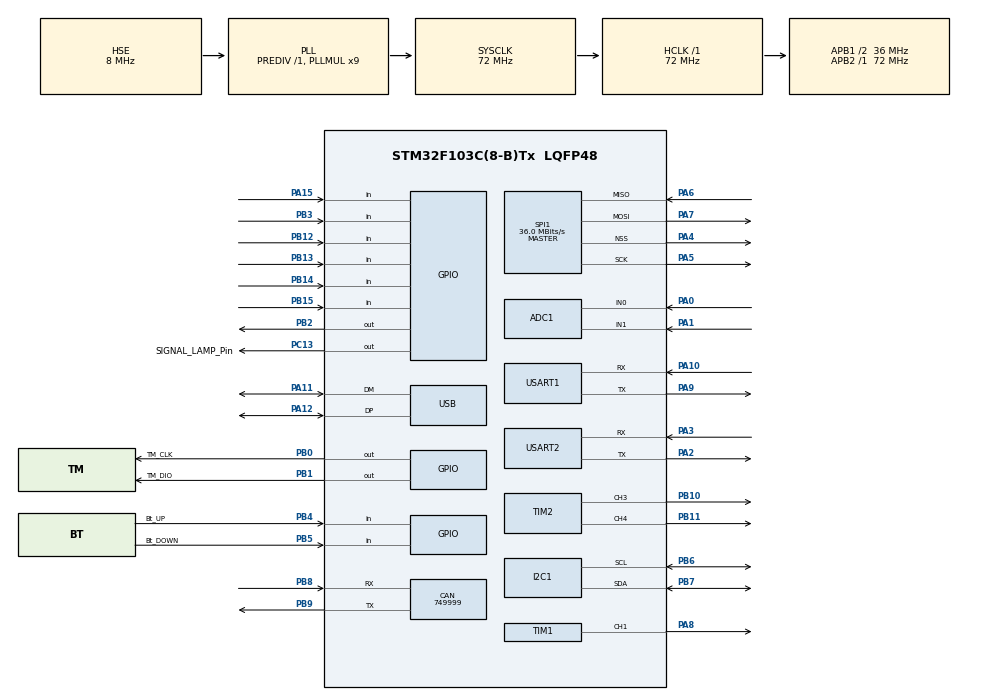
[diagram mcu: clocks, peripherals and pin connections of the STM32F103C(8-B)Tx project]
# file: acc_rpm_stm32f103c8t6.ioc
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ADC1.Channel-0\#ChannelRegularConversion=ADC_CHANNEL_0
ADC1.NbrOfConversionFlag=1
ADC1.Rank-0\#ChannelRegularConversion=1
ADC1.SamplingTime-0\#ChannelRegularConversion=ADC_SAMPLETIME_1CYCLE_5
ADC1.master=1
CAN.CalculateBaudRate=749999
CAN.CalculateTimeBit=1333
CAN.CalculateTimeQuantum=444.44444444444446
FATFS._MAX_SS=4096
FATFS._USE_LFN=1
Mcu.Family=STM32F1
Mcu.Name=STM32F103C(8-B)Tx
Mcu.Package=LQFP48
NVIC.PriorityGroup=NVIC_PRIORITYGROUP_4
NVIC.USB_LP_CAN1_RX0_IRQn=true\:0\:0\:false\:false\:true\:false\:true\:true
PA0-WKUP.Signal=ADCx_IN0
PA1.Signal=ADCx_IN1
PA10.Mode=Asynchronous
PA10.Signal=USART1_RX
PA11.Mode=Device
PA11.Signal=USB_DM
PA12.Mode=Device
PA12.Signal=USB_DP
PA13.Mode=Serial_Wire
PA13.Signal=SYS_JTMS-SWDIO
PA14.Mode=Serial_Wire
PA14.Signal=SYS_JTCK-SWCLK
PA15.GPIO_PuPd=GPIO_PULLUP
PA15.Signal=GPIO_Input
PA2.Mode=Asynchronous
PA2.Signal=USART2_TX
PA3.Mode=Asynchronous
PA3.Signal=USART2_RX
PA4.Mode=NSS_Signal_Hard_Output
PA4.Signal=SPI1_NSS
PA5.Mode=Full_Duplex_Master
PA5.Signal=SPI1_SCK
PA6.Mode=Full_Duplex_Master
PA6.Signal=SPI1_MISO
PA7.Mode=Full_Duplex_Master
PA7.Signal=SPI1_MOSI
PA8.Signal=S_TIM1_CH1
PA9.Mode=Asynchronous
PA9.Signal=USART1_TX
PB0.GPIO_Label=TM_CLK
PB0.Signal=GPIO_Output
PB1.GPIO_Label=TM_DIO
PB1.Signal=GPIO_Output
PB10.Signal=S_TIM2_CH3
PB11.Signal=S_TIM2_CH4
PB12.GPIO_PuPd=GPIO_PULLUP
PB12.Signal=GPIO_Input
PB13.GPIO_PuPd=GPIO_PULLUP
PB13.Signal=GPIO_Input
PB14.GPIO_PuPd=GPIO_PULLUP
PB14.Signal=GPIO_Input
PB15.Signal=GPIO_Input
PB2.Signal=GPIO_Output
PB3.GPIO_PuPd=GPIO_PULLUP
PB3.Signal=GPIO_Input
PB4.GPIO_Label=Bt_UP
PB4.GPIO_PuPd=GPIO_PULLUP
PB4.Signal=GPIO_Input
PB5.GPIO_Label=Bt_DOWN
PB5.GPIO_PuPd=GPIO_PULLUP
PB5.Signal=GPIO_Input
PB6.Mode=I2C
PB6.Signal=I2C1_SCL
PB7.Mode=I2C
PB7.Signal=I2C1_SDA
PB8.Mode=CAN_Activate
PB8.Signal=CAN_RX
PB9.Mode=CAN_Activate
PB9.Signal=CAN_TX
PC13-TAMPER-RTC.GPIO_Label=SIGNAL_LAMP_Pin
PC13-TAMPER-RTC.Signal=GPIO_Output
PC14-OSC32_IN.Mode=LSE-External-Oscillator
PC14-OSC32_IN.Signal=RCC_OSC32_IN
PC15-OSC32_OUT.Mode=LSE-External-Oscillator
PC15-OSC32_OUT.Signal=RCC_OSC32_OUT
PD0-OSC_IN.Mode=HSE-External-Oscillator
PD0-OSC_IN.Signal=RCC_OSC_IN
PD1-OSC_OUT.Mode=HSE-External-Oscillator
PD1-OSC_OUT.Signal=RCC_OSC_OUT
ProjectManager.HeapSize=0x200
ProjectManager.StackSize=0x400
ProjectManager.TargetToolchain=STM32CubeIDE
RCC.ADCPresc=RCC_ADCPCLK2_DIV6
RCC.AHBFreq_Value=72000000
RCC.APB1CLKDivider=RCC_HCLK_DIV2
RCC.APB1Freq_Value=36000000
RCC.APB1TimFreq_Value=72000000
RCC.APB2Freq_Value=72000000
RCC.APB2TimFreq_Value=72000000
RCC.HCLKFreq_Value=72000000
RCC.PLLMUL=RCC_PLL_MUL9
RCC.SYSCLKFreq_VALUE=72000000
RCC.SYSCLKSource=RCC_SYSCLKSOURCE_PLLCLK
RCC.USBFreq_Value=48000000
RCC.USBPrescaler=RCC_USBCLKSOURCE_PLL_DIV1_5
SH.ADCx_IN0.0=ADC1_IN0,IN0
SH.ADCx_IN1.0=ADC1_IN1,IN1
SH.S_TIM1_CH1.0=TIM1_CH1,PWM Generation1 CH1
SH.S_TIM2_CH3.0=TIM2_CH3,PWM Generation3 CH3
SH.S_TIM2_CH4.0=TIM2_CH4,PWM Generation4 CH4
SPI1.BaudRatePrescaler=SPI_BAUDRATEPRESCALER_2
SPI1.CalculateBaudRate=36.0 MBits/s
SPI1.Direction=SPI_DIRECTION_2LINES
SPI1.Mode=SPI_MODE_MASTER
SPI1.VirtualNSS=VM_NSSHARD
SPI1.VirtualType=VM_MASTER
TIM1.Channel-PWM\ Generation1\ CH1=TIM_CHANNEL_1
TIM2.Channel-PWM\ Generation3\ CH3=TIM_CHANNEL_3
TIM2.Channel-PWM\ Generation4\ CH4=TIM_CHANNEL_4
USART1.VirtualMode=VM_ASYNC
USART2.VirtualMode=VM_ASYNC
USB_DEVICE.CLASS_NAME_FS=CDC
USB_DEVICE.VirtualMode=Cdc
USB_DEVICE.VirtualModeFS=Cdc_FS
VP_FATFS_VS_Generic.Mode=User_defined
VP_RTC_No_RTC_Output.Mode=RTC_OUT_NO
VP_RTC_VS_RTC_Activate.Mode=RTC_Enabled
VP_RTC_VS_RTC_Calendar.Mode=RTC_Calendar
VP_TIM1_VS_ClockSourceINT.Mode=Internal
VP_TIM2_VS_ClockSourceINT.Mode=Internal
VP_USB_DEVICE_VS_USB_DEVICE_CDC_FS.Mode=CDC_FS
board=custom

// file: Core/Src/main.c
/* USER CODE BEGIN Header */
/**
 ******************************************************************************
 * @file           : main.c
 * @brief          : Main program body
 ******************************************************************************
 * @attention
 *
 * Copyright (c) 2024 STMicroelectronics.
 * All rights reserved.
 *
 * This software is licensed under terms that can be found in the LICENSE file
 * in the root directory of this software component.
 * If no LICENSE file comes with this software, it is provided AS-IS.
 *
 ******************************************************************************
 */
/* USER CODE END Header */
#include "main.h"
#include "fatfs.h"

/* USER CODE BEGIN Includes */
#include "stdbool.h"
#include "math.h"
#include <stdio.h>
#include "ds1307_for_stm32_hal.h"
#include "tm1637.h"
/* USER CODE END Includes */

/* USER CODE BEGIN PD */
#define BT_KEY_UP 1
#define BT_KEY_DOWN 2
#define BT_KEY_UP_AND_DOWN 3
#define BT_KEY_UP_DRAG 4
#define BT_KEY_DOWN_DRAG 5
#define BT_KEY_UP_AND_DOWN_DRAG 6

#define EEPROM_ADDR 0xA0
#define PAGE_SIZE 64     // in Bytes จำนวน ต่อ 1 หน้า
#define PAGE_NUM  512    // number of pages จำนวนหน้า
#define EEPROM_I2C &hi2c1

#define CONFIG_ADDR 0x700

#define MPU6050_ADDR 0xD0

#define RAD_TO_DEG 57.295779513082320876798154814105

#define WHO_AM_I_REG 0x75
#define PWR_MGMT_1_REG 0x6B
#define SMPLRT_DIV_REG 0x19
#define ACCEL_CONFIG_REG 0x1C
#define ACCEL_XOUT_H_REG 0x3B
#define TEMP_OUT_H_REG 0x41
#define acc_CONFIG_REG 0x1B
#define acc_XOUT_H_REG 0x43

/* USER CODE END PD */

ADC_HandleTypeDef hadc1;

CAN_HandleTypeDef hcan;

I2C_HandleTypeDef hi2c1;

RTC_HandleTypeDef hrtc;

SPI_HandleTypeDef hspi1;

TIM_HandleTypeDef htim1;
TIM_HandleTypeDef htim2;

UART_HandleTypeDef huart1;
UART_HandleTypeDef huart2;

/* USER CODE BEGIN PV */
struct config {

	uint8_t Limit_value[16];
	uint8_t Period;
};

struct config Config;
uint8_t sinnal_PWN;
uint8_t MSG[50] = { '\0' };
uint8_t X = 0;
uint8_t gyloXYZ[14];
const uint16_t i2c_timeout = 100;
uint8_t Data;
/* USER CODE END PV */

void SystemClock_Config(void);
static void MX_GPIO_Init(void);
static void MX_ADC1_Init(void);
static void MX_CAN_Init(void);
static void MX_I2C1_Init(void);
static void MX_SPI1_Init(void);
static void MX_TIM1_Init(void);
static void MX_TIM2_Init(void);
static void MX_USART1_UART_Init(void);
static void MX_RTC_Init(void);
static void MX_USART2_UART_Init(void);

/* USER CODE BEGIN 0 */
float genDegreefromAcc(float ac_value) {
	return ac_value * 90;
}
uint8_t Getstategylo(float x, float y, float z, float torrent) {
	uint8_t bufferx, buffery, bufferz, buffer_finish;
	return buffer_finish;
} // ใช้ตัวเลข 6 bit จากขวาสุด หลัก 1-3-5 แสดงสถานะว่าสมดุลหรือไม่  1 คือ x , 3 คือ y , 5 คือ z,0=สมดุุล,1=ไม่สมดุล พิจารณาจากว่าเกินค่า offset
//หลัก 2-4-6 แสดงทิศทาง 0 คือบวก 1 คือลบ
void EEPROM_Read(uint16_t page, uint16_t offset, uint8_t *data, uint16_t size) {
	int paddrposition = log(PAGE_SIZE) / log(2);

	uint16_t startPage = page;
	uint16_t endPage = page + ((size + offset) / PAGE_SIZE);

	uint16_t numofpages = (endPage - startPage) + 1;
	uint16_t pos = 0;

	for (int i = 0; i < numofpages; i++) {
		uint16_t MemAddress = startPage << paddrposition | offset;
		uint16_t bytesremaining = bytestowrite(size, offset);
		HAL_I2C_Mem_Read(EEPROM_I2C, EEPROM_ADDR, MemAddress, 2, &data[pos],
				bytesremaining, 1000);
		startPage += 1;
		offset = 0;
		size = size - bytesremaining;
		pos += bytesremaining;
	}
}
void EEPROM_Write(uint16_t page, uint16_t offset, uint8_t *data, uint16_t size) {

	// Find out the number of bit, where the page addressing starts
	int paddrposition = log(PAGE_SIZE) / log(2);

	// calculate the start page and the end page
	uint16_t startPage = page;
	uint16_t endPage = page + ((size + offset) / PAGE_SIZE);

	// number of pages to be written
	uint16_t numofpages = (endPage - startPage) + 1;
	uint16_t pos = 0;

	// write the data
	for (int i = 0; i < numofpages; i++) {
		/* calculate the address of the memory location
		 * Here we add the page address with the byte address
		 */
		uint16_t MemAddress = startPage << paddrposition | offset;
		uint16_t bytesremaining = bytestowrite(size, offset); // calculate the remaining bytes to be written

		HAL_I2C_Mem_Write(EEPROM_I2C, EEPROM_ADDR, MemAddress, 2, &data[pos],
				bytesremaining, 1000);  // write the data to the EEPROM

		startPage += 1; // increment the page, so that a new page address can be selected for further write
		offset = 0; // since we will be writing to a new page, so offset will be 0
		size = size - bytesremaining;  // reduce the size of the bytes
		pos += bytesremaining;  // update the position for the data buffer

		HAL_Delay(5);  // Write cycle delay (5ms)
	}
}
uint8_t MPU6050_Init(I2C_HandleTypeDef *I2Cx) {
	uint8_t check;

	// check device ID WHO_AM_I

	HAL_I2C_Mem_Read(I2Cx, MPU6050_ADDR, WHO_AM_I_REG, 1, &check, 1,
			i2c_timeout);

	if (check == 104) // 0x68 will be returned by the sensor if everything goes well
			{
		// power management register 0X6B we should write all 0's to wake the sensor up
		Data = 0x0;
		HAL_I2C_Mem_Write(I2Cx, MPU6050_ADDR, PWR_MGMT_1_REG, 1, &Data, 1,
				i2c_timeout);

		// Set DATA RATE of 1KHz by writing SMPLRT_DIV register
		Data = 0x00;
		HAL_I2C_Mem_Write(I2Cx, MPU6050_ADDR, SMPLRT_DIV_REG, 1, &Data, 1,
				i2c_timeout);

		Data = 0x00;
		HAL_I2C_Mem_Write(I2Cx, MPU6050_ADDR, 0x1A, 1, &Data, 1, i2c_timeout);
		// Set accelerometer configuration in ACCEL_CONFIG Register
		// XA_ST=0,YA_ST=0,ZA_ST=0, FS_SEL=0 -> � 2g

		Data = 0x0;
		HAL_I2C_Mem_Write(I2Cx, MPU6050_ADDR, ACCEL_CONFIG_REG, 1, &Data, 1,
				i2c_timeout);

		// Set accscopic configuration in acc_CONFIG Register
		// XG_ST=0,YG_ST=0,ZG_ST=0, FS_SEL=0 -> � 250 �/s
		Data = 0x0;
		HAL_I2C_Mem_Write(I2Cx, MPU6050_ADDR, acc_CONFIG_REG, 1, &Data, 1,
				i2c_timeout);

		Data = 0x07;
		HAL_I2C_Mem_Write(I2Cx, MPU6050_ADDR, 0x68, 1, &Data, 1, i2c_timeout);

		Data = 0xff;
		HAL_I2C_Mem_Write(I2Cx, MPU6050_ADDR, 0x23, 1, &Data, 1, i2c_timeout);

		sprintf(MSG, "OKx1x \r\n");
		HAL_UART_Transmit(&huart1, MSG, sizeof(MSG), 100);
		return 0;
	}
	return 1;
}
void read_gylo() {

	HAL_I2C_Mem_Read(&hi2c1, MPU6050_ADDR, 0x3B, I2C_MEMADD_SIZE_8BIT, gyloXYZ,
			14, 1);
}

void read_Config() {
	HAL_I2C_Mem_Read(&hi2c1, EEPROM_ADDR, CONFIG_ADDR, 2, &Config,
			sizeof(Config), 1000);
	uint8_t *x;
	x = &Config;
	for (int i = 0; i < sizeof(Config); i++) {
		sprintf(MSG, "Read %d = %d \r\n", i, *(x + i));
		HAL_UART_Transmit(&huart1, MSG, sizeof(MSG), 100);
	}
}
void write_Config() {
	for (uint8_t i = 0; i < 16; i++) {
		if (Config.Limit_value[i] < 10) {
			Config.Limit_value[i] = 128;
		}
		sprintf(MSG, "L %d = %d \r\n", i, Config.Limit_value[i]);
		HAL_UART_Transmit(&huart1, MSG, sizeof(MSG), 100);
	}
	if (Config.Period < 2) {
		Config.Period = 8;
	}
//	sprintf(MSG, "PL : %d \r\n", Config.Period);
//	HAL_UART_Transmit(&huart1, MSG, sizeof(MSG), 100);
//	sprintf(MSG, "SizeConfig : %d \r\n", sizeof(Config));
//	HAL_UART_Transmit(&huart1, MSG, sizeof(MSG), 100);
//	HAL_I2C_Mem_Write(&hi2c1, EEPROM_ADDR, CONFIG_ADDR, 2, &Config,
//			sizeof(Config), 1000);
}
void Set_limitvalue() {

}
uint8_t read_bt() {
	static uint8_t Bt_key;
	static bool statecout;
	static uint64_t timetrick;
	GPIO_PinState Bt_up, Bt_Down;

	Bt_up = HAL_GPIO_ReadPin(Bt_UP_GPIO_Port, Bt_UP_Pin);
	Bt_Down = HAL_GPIO_ReadPin(Bt_DOWN_GPIO_Port, Bt_DOWN_Pin);
	while (!Bt_up) {

	}

	return 0;
}
/* USER CODE END 0 */

int main(void) {

	/* MCU Configuration--------------------------------------------------------*/

	/* Reset of all peripherals, Initializes the Flash interface and the Systick. */
	HAL_Init();

	/* Configure the system clock */
	SystemClock_Config();

	/* Initialize all configured peripherals */
	MX_GPIO_Init();
	MX_ADC1_Init();
	MX_CAN_Init();
	MX_I2C1_Init();
	MX_SPI1_Init();
	MX_TIM1_Init();
	MX_TIM2_Init();
	MX_USART1_UART_Init();
	MX_RTC_Init();
	MX_USART2_UART_Init();
	MX_FATFS_Init();
	TM1637_Init();
	TM1637_SetBrightness(7);
	TM1637_ClearDisplay();
	while (MPU6050_Init(&hi2c1) == 1)
		;
	/* USER CODE BEGIN 2 */
//	write_Config();
	/* Start DS1307 timing. Pass user I2C handle pointer to function. */
//	DS1307_Init(&hi2c1);
//	/* To test leap year correction. */
//	DS1307_SetTimeZone(+7, 00);
//	DS1307_SetDate(30);
//	DS1307_SetMonth(10);
//	DS1307_SetYear(2024);
//	DS1307_SetHour(19);
//	DS1307_SetMinute(45);
//	DS1307_SetSecond(10);
//	read_Config();
	/* USER CODE END 2 */

	/* Infinite loop */
	/* USER CODE BEGIN WHILE */
	short acc_x_raw;
	short acc_y_raw;
	short acc_z_raw;
	float acc_x;
	float acc_y;
	float acc_z;
	short gylo_x_raw;
	short gylo_y_raw;
	short gylo_z_raw;
	float gylo_x;
	float gylo_y;
	float gylo_z;
	while (1) {
		static uint32_t tk;
		static bool state_tk;
		static bool show_togleamp;
		if (!state_tk) {
			tk = HAL_GetTick();
			state_tk = true;
			show_togleamp = true;
//			uint8_t date = DS1307_GetDate();
//			uint8_t month = DS1307_GetMonth();
//			uint16_t year = DS1307_GetYear();
//			uint8_t hour = DS1307_GetHour();
//			uint8_t minute = DS1307_GetMinute();
//			uint8_t second = DS1307_GetSecond();
//			int8_t zone_hr = DS1307_GetTimeZoneHour();
//			uint8_t zone_min = DS1307_GetTimeZoneMin();
//			sprintf(MSG,
//					"TZ:+%02d:%02d,%04d-%02d-%02d,%02d:%02d:%02d%: tk = %d \r\n",
//					zone_hr, zone_min, year, month, date, hour, minute, second,
//					tk);
//			/* May show warning below. Ignore and proceed. */
			read_gylo();
			acc_x_raw = (gyloXYZ[0] << 8) | gyloXYZ[1];
			acc_y_raw = (gyloXYZ[2] << 8) | gyloXYZ[3];
			acc_z_raw = (gyloXYZ[4] << 8) | gyloXYZ[5];
			acc_x = acc_x_raw / 16384.f;
			acc_y = acc_y_raw / 16384.f;
			acc_z = acc_z_raw / 16384.f;

			gylo_x_raw = (gyloXYZ[8] << 8) | gyloXYZ[9];
			gylo_y_raw = (gyloXYZ[10] << 8) | gyloXYZ[11];
			gylo_z_raw = (gyloXYZ[12] << 8) | gyloXYZ[13];

			gylo_x = gylo_x_raw / 131.f;
			gylo_y = gylo_y_raw / 131.f;
			gylo_z = gylo_z_raw / 131.f;
			float ab = genDegreefromAcc(acc_x);
			double result = fabsf(ab);
			sprintf(MSG, "tk = %d ax = %.2f ,ay = %.2f , az = %.2f , degree = %.2f \r\n", tk,
					acc_x, acc_y, acc_z,ab);
			HAL_UART_Transmit(&huart1, MSG, strlen(MSG), 100);
			TM1637_displayDecimal_only(result);

			HAL_GPIO_TogglePin(GPIOC, GPIO_PIN_13);

		} else {
			uint32_t tt = HAL_GetTick();

			if ((tt - tk) >= 250) {
				if (show_togleamp) {
					HAL_GPIO_TogglePin(GPIOC, GPIO_PIN_13);
					show_togleamp = false;
				}
			}
			if ((tt - tk) >= 500) {
				state_tk = false;
			}
		}

//		HAL_Delay(50);
		/* USER CODE END WHILE */

	}
}

void SystemClock_Config(void) {
	RCC_OscInitTypeDef RCC_OscInitStruct = { 0 };
	RCC_ClkInitTypeDef RCC_ClkInitStruct = { 0 };
	RCC_PeriphCLKInitTypeDef PeriphClkInit = { 0 };

	/** Initializes the RCC Oscillators according to the specified parameters
	 * in the RCC_OscInitTypeDef structure.
	 */
	RCC_OscInitStruct.OscillatorType = RCC_OSCILLATORTYPE_LSI
			| RCC_OSCILLATORTYPE_HSE;
	RCC_OscInitStruct.HSEState = RCC_HSE_ON;
	RCC_OscInitStruct.HSEPredivValue = RCC_HSE_PREDIV_DIV1;
	RCC_OscInitStruct.HSIState = RCC_HSI_ON;
	RCC_OscInitStruct.LSIState = RCC_LSI_ON;
	RCC_OscInitStruct.PLL.PLLState = RCC_PLL_ON;
	RCC_OscInitStruct.PLL.PLLSource = RCC_PLLSOURCE_HSE;
	RCC_OscInitStruct.PLL.PLLMUL = RCC_PLL_MUL9;
	if (HAL_RCC_OscConfig(&RCC_OscInitStruct) != HAL_OK) {
		Error_Handler();
	}

	/** Initializes the CPU, AHB and APB buses clocks
	 */
	RCC_ClkInitStruct.ClockType = RCC_CLOCKTYPE_HCLK | RCC_CLOCKTYPE_SYSCLK
			| RCC_CLOCKTYPE_PCLK1 | RCC_CLOCKTYPE_PCLK2;
	RCC_ClkInitStruct.SYSCLKSource = RCC_SYSCLKSOURCE_PLLCLK;
	RCC_ClkInitStruct.AHBCLKDivider = RCC_SYSCLK_DIV1;
	RCC_ClkInitStruct.APB1CLKDivider = RCC_HCLK_DIV2;
	RCC_ClkInitStruct.APB2CLKDivider = RCC_HCLK_DIV1;

	if (HAL_RCC_ClockConfig(&RCC_ClkInitStruct, FLASH_LATENCY_2) != HAL_OK) {
		Error_Handler();
	}
	PeriphClkInit.PeriphClockSelection = RCC_PERIPHCLK_RTC | RCC_PERIPHCLK_ADC;
	PeriphClkInit.RTCClockSelection = RCC_RTCCLKSOURCE_LSI;
	PeriphClkInit.AdcClockSelection = RCC_ADCPCLK2_DIV6;
	if (HAL_RCCEx_PeriphCLKConfig(&PeriphClkInit) != HAL_OK) {
		Error_Handler();
	}
}

static void MX_ADC1_Init(void) {

	ADC_ChannelConfTypeDef sConfig = { 0 };

	/** Common config
	 */
	hadc1.Instance = ADC1;
	hadc1.Init.ScanConvMode = ADC_SCAN_DISABLE;
	hadc1.Init.ContinuousConvMode = DISABLE;
	hadc1.Init.DiscontinuousConvMode = DISABLE;
	hadc1.Init.ExternalTrigConv = ADC_SOFTWARE_START;
	hadc1.Init.DataAlign = ADC_DATAALIGN_RIGHT;
	hadc1.Init.NbrOfConversion = 1;
	if (HAL_ADC_Init(&hadc1) != HAL_OK) {
		Error_Handler();
	}

	/** Configure Regular Channel
	 */
	sConfig.Channel = ADC_CHANNEL_0;
	sConfig.Rank = ADC_REGULAR_RANK_1;
	sConfig.SamplingTime = ADC_SAMPLETIME_1CYCLE_5;
	if (HAL_ADC_ConfigChannel(&hadc1, &sConfig) != HAL_OK) {
		Error_Handler();
	}

}

static void MX_CAN_Init(void) {

	hcan.Instance = CAN1;
	hcan.Init.Prescaler = 16;
	hcan.Init.Mode = CAN_MODE_NORMAL;
	hcan.Init.SyncJumpWidth = CAN_SJW_1TQ;
	hcan.Init.TimeSeg1 = CAN_BS1_1TQ;
	hcan.Init.TimeSeg2 = CAN_BS2_1TQ;
	hcan.Init.TimeTriggeredMode = DISABLE;
	hcan.Init.AutoBusOff = DISABLE;
	hcan.Init.AutoWakeUp = DISABLE;
	hcan.Init.AutoRetransmission = DISABLE;
	hcan.Init.ReceiveFifoLocked = DISABLE;
	hcan.Init.TransmitFifoPriority = DISABLE;
	if (HAL_CAN_Init(&hcan) != HAL_OK) {
		Error_Handler();
	}

}

static void MX_I2C1_Init(void) {

	hi2c1.Instance = I2C1;
	hi2c1.Init.ClockSpeed = 100000;
	hi2c1.Init.DutyCycle = I2C_DUTYCYCLE_2;
	hi2c1.Init.OwnAddress1 = 0;
	hi2c1.Init.AddressingMode = I2C_ADDRESSINGMODE_7BIT;
	hi2c1.Init.DualAddressMode = I2C_DUALADDRESS_DISABLE;
	hi2c1.Init.OwnAddress2 = 0;
	hi2c1.Init.GeneralCallMode = I2C_GENERALCALL_DISABLE;
	hi2c1.Init.NoStretchMode = I2C_NOSTRETCH_DISABLE;
	if (HAL_I2C_Init(&hi2c1) != HAL_OK) {
		Error_Handler();
	}

}

static void MX_RTC_Init(void) {

	RTC_TimeTypeDef sTime = { 0 };
	RTC_DateTypeDef DateToUpdate = { 0 };

	/** Initialize RTC Only
	 */
	hrtc.Instance = RTC;
	hrtc.Init.AsynchPrediv = RTC_AUTO_1_SECOND;
	hrtc.Init.OutPut = RTC_OUTPUTSOURCE_NONE;
	if (HAL_RTC_Init(&hrtc) != HAL_OK) {
		Error_Handler();
	}

	/** Initialize RTC and set the Time and Date
	 */
	sTime.Hours = 0x0;
	sTime.Minutes = 0x0;
	sTime.Seconds = 0x0;

	if (HAL_RTC_SetTime(&hrtc, &sTime, RTC_FORMAT_BCD) != HAL_OK) {
		Error_Handler();
	}
	DateToUpdate.WeekDay = RTC_WEEKDAY_MONDAY;
	DateToUpdate.Month = RTC_MONTH_JANUARY;
	DateToUpdate.Date = 0x1;
	DateToUpdate.Year = 0x0;

	if (HAL_RTC_SetDate(&hrtc, &DateToUpdate, RTC_FORMAT_BCD) != HAL_OK) {
		Error_Handler();
	}

}

static void MX_SPI1_Init(void) {

	/* SPI1 parameter configuration*/
	hspi1.Instance = SPI1;
	hspi1.Init.Mode = SPI_MODE_MASTER;
	hspi1.Init.Direction = SPI_DIRECTION_2LINES;
	hspi1.Init.DataSize = SPI_DATASIZE_8BIT;
	hspi1.Init.CLKPolarity = SPI_POLARITY_LOW;
	hspi1.Init.CLKPhase = SPI_PHASE_1EDGE;
	hspi1.Init.NSS = SPI_NSS_HARD_OUTPUT;
	hspi1.Init.BaudRatePrescaler = SPI_BAUDRATEPRESCALER_2;
	hspi1.Init.FirstBit = SPI_FIRSTBIT_MSB;
	hspi1.Init.TIMode = SPI_TIMODE_DISABLE;
	hspi1.Init.CRCCalculation = SPI_CRCCALCULATION_DISABLE;
	hspi1.Init.CRCPolynomial = 10;
	if (HAL_SPI_Init(&hspi1) != HAL_OK) {
		Error_Handler();
	}

}

static void MX_TIM1_Init(void) {

	TIM_MasterConfigTypeDef sMasterConfig = { 0 };
	TIM_IC_InitTypeDef sConfigIC = { 0 };

	htim1.Instance = TIM1;
	htim1.Init.Prescaler = 0;
	htim1.Init.CounterMode = TIM_COUNTERMODE_UP;
	htim1.Init.Period = 65535;
	htim1.Init.ClockDivision = TIM_CLOCKDIVISION_DIV1;
	htim1.Init.RepetitionCounter = 0;
	htim1.Init.AutoReloadPreload = TIM_AUTORELOAD_PRELOAD_DISABLE;
	if (HAL_TIM_IC_Init(&htim1) != HAL_OK) {
		Error_Handler();
	}
	sMasterConfig.MasterOutputTrigger = TIM_TRGO_RESET;
	sMasterConfig.MasterSlaveMode = TIM_MASTERSLAVEMODE_DISABLE;
	if (HAL_TIMEx_MasterConfigSynchronization(&htim1, &sMasterConfig)
			!= HAL_OK) {
		Error_Handler();
	}
	sConfigIC.ICPolarity = TIM_INPUTCHANNELPOLARITY_RISING;
	sConfigIC.ICSelection = TIM_ICSELECTION_DIRECTTI;
	sConfigIC.ICPrescaler = TIM_ICPSC_DIV1;
	sConfigIC.ICFilter = 0;
	if (HAL_TIM_IC_ConfigChannel(&htim1, &sConfigIC, TIM_CHANNEL_1) != HAL_OK) {
		Error_Handler();
	}

}

static void MX_TIM2_Init(void) {

	TIM_ClockConfigTypeDef sClockSourceConfig = { 0 };
	TIM_MasterConfigTypeDef sMasterConfig = { 0 };
	TIM_OC_InitTypeDef sConfigOC = { 0 };

	htim2.Instance = TIM2;
	htim2.Init.Prescaler = 0;
	htim2.Init.CounterMode = TIM_COUNTERMODE_UP;
	htim2.Init.Period = 65535;
	htim2.Init.ClockDivision = TIM_CLOCKDIVISION_DIV1;
	htim2.Init.AutoReloadPreload = TIM_AUTORELOAD_PRELOAD_DISABLE;
	if (HAL_TIM_Base_Init(&htim2) != HAL_OK) {
		Error_Handler();
	}
	sClockSourceConfig.ClockSource = TIM_CLOCKSOURCE_INTERNAL;
	if (HAL_TIM_ConfigClockSource(&htim2, &sClockSourceConfig) != HAL_OK) {
		Error_Handler();
	}
	if (HAL_TIM_OC_Init(&htim2) != HAL_OK) {
		Error_Handler();
	}
	if (HAL_TIM_PWM_Init(&htim2) != HAL_OK) {
		Error_Handler();
	}
	sMasterConfig.MasterOutputTrigger = TIM_TRGO_RESET;
	sMasterConfig.MasterSlaveMode = TIM_MASTERSLAVEMODE_DISABLE;
	if (HAL_TIMEx_MasterConfigSynchronization(&htim2, &sMasterConfig)
			!= HAL_OK) {
		Error_Handler();
	}
	sConfigOC.OCMode = TIM_OCMODE_TIMING;
	sConfigOC.Pulse = 0;
	sConfigOC.OCPolarity = TIM_OCPOLARITY_HIGH;
	sConfigOC.OCFastMode = TIM_OCFAST_DISABLE;
	if (HAL_TIM_OC_ConfigChannel(&htim2, &sConfigOC, TIM_CHANNEL_3) != HAL_OK) {
		Error_Handler();
	}
	sConfigOC.OCMode = TIM_OCMODE_PWM1;
	if (HAL_TIM_PWM_ConfigChannel(&htim2, &sConfigOC, TIM_CHANNEL_4)
			!= HAL_OK) {
		Error_Handler();
	}
	HAL_TIM_MspPostInit(&htim2);

}

static void MX_USART1_UART_Init(void) {

	huart1.Instance = USART1;
	huart1.Init.BaudRate = 115200;
	huart1.Init.WordLength = UART_WORDLENGTH_8B;
	huart1.Init.StopBits = UART_STOPBITS_1;
	huart1.Init.Parity = UART_PARITY_NONE;
	huart1.Init.Mode = UART_MODE_TX_RX;
	huart1.Init.HwFlowCtl = UART_HWCONTROL_NONE;
	huart1.Init.OverSampling = UART_OVERSAMPLING_16;
	if (HAL_UART_Init(&huart1) != HAL_OK) {
		Error_Handler();
	}

}

static void MX_USART2_UART_Init(void) {

	huart2.Instance = USART2;
	huart2.Init.BaudRate = 115200;
	huart2.Init.WordLength = UART_WORDLENGTH_8B;
	huart2.Init.StopBits = UART_STOPBITS_1;
	huart2.Init.Parity = UART_PARITY_NONE;
	huart2.Init.Mode = UART_MODE_TX_RX;
	huart2.Init.HwFlowCtl = UART_HWCONTROL_NONE;
	huart2.Init.OverSampling = UART_OVERSAMPLING_16;
	if (HAL_UART_Init(&huart2) != HAL_OK) {
		Error_Handler();
	}

}

static void MX_GPIO_Init(void) {
	GPIO_InitTypeDef GPIO_InitStruct = { 0 };

	/* GPIO Ports Clock Enable */
	__HAL_RCC_GPIOC_CLK_ENABLE();
	__HAL_RCC_GPIOD_CLK_ENABLE();
	__HAL_RCC_GPIOA_CLK_ENABLE();
	__HAL_RCC_GPIOB_CLK_ENABLE();

	/*Configure GPIO pin Output Level */
	HAL_GPIO_WritePin(SIGNAL_LAMP_Pin_GPIO_Port, SIGNAL_LAMP_Pin_Pin,
			GPIO_PIN_RESET);

	/*Configure GPIO pin Output Level */
	HAL_GPIO_WritePin(GPIOB, TM_CLK_Pin | TM_DIO_Pin | GPIO_PIN_2,
			GPIO_PIN_RESET);

	/*Configure GPIO pin : LAMP_SIGNAL_Pin_Pin */
	GPIO_InitStruct.Pin = SIGNAL_LAMP_Pin_Pin;
	GPIO_InitStruct.Mode = GPIO_MODE_OUTPUT_PP;
	GPIO_InitStruct.Pull = GPIO_NOPULL;
	GPIO_InitStruct.Speed = GPIO_SPEED_FREQ_LOW;
	HAL_GPIO_Init(SIGNAL_LAMP_Pin_GPIO_Port, &GPIO_InitStruct);

	/*Configure GPIO pins : TM_CLK_Pin TM_DIO_Pin PB2 */
	GPIO_InitStruct.Pin = TM_CLK_Pin | TM_DIO_Pin | GPIO_PIN_2;
	GPIO_InitStruct.Mode = GPIO_MODE_OUTPUT_PP;
	GPIO_InitStruct.Pull = GPIO_NOPULL;
	GPIO_InitStruct.Speed = GPIO_SPEED_FREQ_LOW;
	HAL_GPIO_Init(GPIOB, &GPIO_InitStruct);

	/*Configure GPIO pins : PB12 PB13 PB14 PB15
	 PB3 Bt_UP_Pin Bt_DOWN_Pin */
	GPIO_InitStruct.Pin = GPIO_PIN_12 | GPIO_PIN_13 | GPIO_PIN_14 | GPIO_PIN_15
			| GPIO_PIN_3 | Bt_UP_Pin | Bt_DOWN_Pin;
	GPIO_InitStruct.Mode = GPIO_MODE_INPUT;
	GPIO_InitStruct.Pull = GPIO_PULLUP;
	HAL_GPIO_Init(GPIOB, &GPIO_InitStruct);

	/*Configure GPIO pin : PA15 */
	GPIO_InitStruct.Pin = GPIO_PIN_15;
	GPIO_InitStruct.Mode = GPIO_MODE_INPUT;
	GPIO_InitStruct.Pull = GPIO_PULLUP;
	HAL_GPIO_Init(GPIOA, &GPIO_InitStruct);

}

void Error_Handler(void) {
	__disable_irq();
	while (1) {
	}
}
